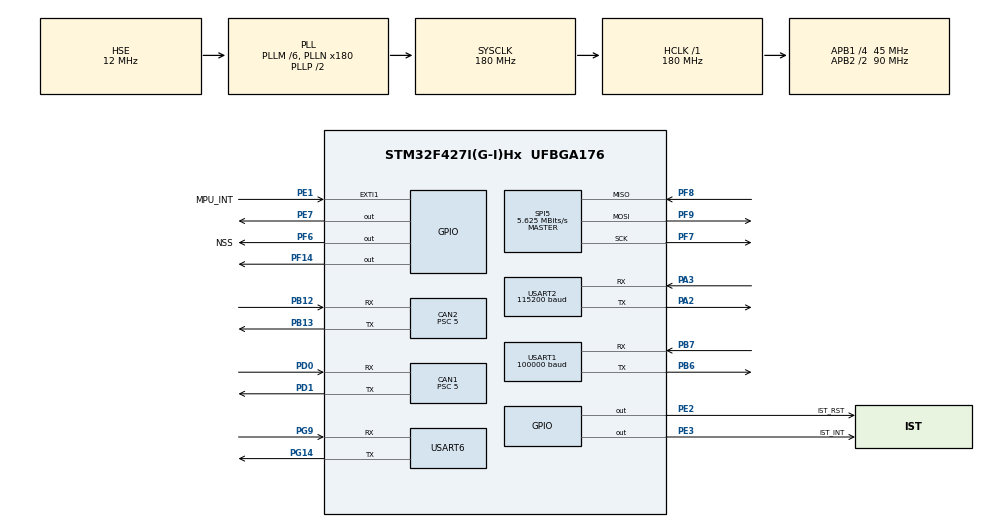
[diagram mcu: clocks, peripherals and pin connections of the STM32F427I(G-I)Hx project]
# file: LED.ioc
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CAN1.ABOM=ENABLE
CAN1.BS1=CAN_BS1_3TQ
CAN1.BS2=CAN_BS2_5TQ
CAN1.CalculateTimeBit=1000
CAN1.CalculateTimeQuantum=111.11111111111111
CAN1.Prescaler=5
CAN2.ABOM=ENABLE
CAN2.BS1=CAN_BS1_3TQ
CAN2.BS2=CAN_BS2_5TQ
CAN2.CalculateTimeBit=1000
CAN2.CalculateTimeQuantum=111.11111111111111
CAN2.Prescaler=5
CAN2.SJW=CAN_SJW_4TQ
Dma.Request0=USART1_RX
Dma.Request1=USART6_RX
Dma.Request2=USART6_TX
Dma.Request3=USART2_RX
Dma.Request4=USART2_TX
Dma.USART1_RX.0.Direction=DMA_PERIPH_TO_MEMORY
Dma.USART1_RX.0.FIFOMode=DMA_FIFOMODE_DISABLE
Dma.USART1_RX.0.Instance=DMA2_Stream2
Dma.USART1_RX.0.MemDataAlignment=DMA_MDATAALIGN_BYTE
Dma.USART1_RX.0.MemInc=DMA_MINC_ENABLE
Dma.USART1_RX.0.Mode=DMA_CIRCULAR
Dma.USART1_RX.0.PeriphDataAlignment=DMA_PDATAALIGN_BYTE
Dma.USART1_RX.0.PeriphInc=DMA_PINC_DISABLE
Dma.USART1_RX.0.Priority=DMA_PRIORITY_VERY_HIGH
Dma.USART2_RX.3.Direction=DMA_PERIPH_TO_MEMORY
Dma.USART2_RX.3.FIFOMode=DMA_FIFOMODE_DISABLE
Dma.USART2_RX.3.Instance=DMA1_Stream5
Dma.USART2_RX.3.MemDataAlignment=DMA_MDATAALIGN_BYTE
Dma.USART2_RX.3.MemInc=DMA_MINC_ENABLE
Dma.USART2_RX.3.Mode=DMA_NORMAL
Dma.USART2_RX.3.PeriphDataAlignment=DMA_PDATAALIGN_BYTE
Dma.USART2_RX.3.PeriphInc=DMA_PINC_DISABLE
Dma.USART2_RX.3.Priority=DMA_PRIORITY_LOW
Dma.USART2_TX.4.Direction=DMA_MEMORY_TO_PERIPH
Dma.USART2_TX.4.FIFOMode=DMA_FIFOMODE_DISABLE
Dma.USART2_TX.4.Instance=DMA1_Stream6
Dma.USART2_TX.4.MemDataAlignment=DMA_MDATAALIGN_BYTE
Dma.USART2_TX.4.MemInc=DMA_MINC_ENABLE
Dma.USART2_TX.4.Mode=DMA_NORMAL
Dma.USART2_TX.4.PeriphDataAlignment=DMA_PDATAALIGN_BYTE
Dma.USART2_TX.4.PeriphInc=DMA_PINC_DISABLE
Dma.USART2_TX.4.Priority=DMA_PRIORITY_LOW
Dma.USART6_RX.1.Direction=DMA_PERIPH_TO_MEMORY
Dma.USART6_RX.1.FIFOMode=DMA_FIFOMODE_DISABLE
Dma.USART6_RX.1.Instance=DMA2_Stream1
Dma.USART6_RX.1.MemDataAlignment=DMA_MDATAALIGN_BYTE
Dma.USART6_RX.1.MemInc=DMA_MINC_ENABLE
Dma.USART6_RX.1.Mode=DMA_NORMAL
Dma.USART6_RX.1.PeriphDataAlignment=DMA_PDATAALIGN_BYTE
Dma.USART6_RX.1.PeriphInc=DMA_PINC_DISABLE
Dma.USART6_RX.1.Priority=DMA_PRIORITY_LOW
Dma.USART6_TX.2.Direction=DMA_MEMORY_TO_PERIPH
Dma.USART6_TX.2.FIFOMode=DMA_FIFOMODE_DISABLE
Dma.USART6_TX.2.Instance=DMA2_Stream6
Dma.USART6_TX.2.MemDataAlignment=DMA_MDATAALIGN_BYTE
Dma.USART6_TX.2.MemInc=DMA_MINC_ENABLE
Dma.USART6_TX.2.Mode=DMA_NORMAL
Dma.USART6_TX.2.PeriphDataAlignment=DMA_PDATAALIGN_BYTE
Dma.USART6_TX.2.PeriphInc=DMA_PINC_DISABLE
Dma.USART6_TX.2.Priority=DMA_PRIORITY_LOW
FREERTOS.Tasks01=LED0,0,128,Func_LED0,Default,NULL,Dynamic,NULL,NULL;LED1,0,128,Func_LED1,Default,NULL,Dynamic,NULL,NULL;myTask03,2,128,StartDefaultTask,Default,NULL,Dynamic,NULL,NULL;PrintName,0,128,PrintFunc,Default,NULL,Dynamic,NULL,NULL;update,2,128,updatefun,Default,NULL,Dynamic,NULL,NULL;WG,3,128,WGfun,Default,NULL,Dynamic,NULL,NULL;IMU,1,128,IMUfun,Default,NULL,Dynamic,NULL,NULL
FREERTOS.configUSE_STATS_FORMATTING_FUNCTIONS=1
FREERTOS.configUSE_TRACE_FACILITY=1
Mcu.Family=STM32F4
Mcu.Name=STM32F427I(G-I)Hx
Mcu.Package=UFBGA176
NVIC.CAN1_RX0_IRQn=true\:5\:0\:false\:false\:true\:true\:true
NVIC.CAN1_TX_IRQn=true\:5\:0\:false\:false\:true\:true\:true
NVIC.CAN2_RX0_IRQn=true\:5\:0\:false\:false\:true\:true\:true
NVIC.CAN2_TX_IRQn=true\:5\:0\:false\:false\:true\:true\:true
NVIC.DMA1_Stream5_IRQn=true\:5\:0\:false\:false\:true\:true\:false
NVIC.DMA1_Stream6_IRQn=true\:5\:0\:false\:false\:true\:true\:false
NVIC.DMA2_Stream1_IRQn=true\:5\:0\:false\:false\:true\:true\:false
NVIC.DMA2_Stream2_IRQn=true\:5\:0\:false\:false\:true\:true\:false
NVIC.DMA2_Stream6_IRQn=true\:5\:0\:false\:false\:true\:true\:false
NVIC.PVD_IRQn=true\:5\:0\:false\:false\:true\:true\:true
NVIC.PriorityGroup=NVIC_PRIORITYGROUP_4
NVIC.TIM3_IRQn=true\:5\:0\:false\:false\:true\:true\:true
NVIC.TIM4_IRQn=true\:0\:0\:false\:false\:true\:false\:false
NVIC.TimeBase=TIM4_IRQn
NVIC.TimeBaseIP=TIM4
PA2.Mode=Asynchronous
PA2.Signal=USART2_TX
PA3.Mode=Asynchronous
PA3.Signal=USART2_RX
PB12.Mode=Slave
PB12.Signal=CAN2_RX
PB13.Mode=Slave
PB13.Signal=CAN2_TX
PB6.Mode=Asynchronous
PB6.Signal=USART1_TX
PB7.Mode=Asynchronous
PB7.Signal=USART1_RX
PD0.Mode=Master
PD0.Signal=CAN1_RX
PD1.Mode=Master
PD1.Signal=CAN1_TX
PE1.GPIO_Label=MPU_INT
PE1.Signal=GPXTI1
PE2.GPIO_Label=IST_RST
PE2.Signal=GPIO_Output
PE3.GPIO_Label=IST_INT
PE3.Signal=GPIO_Output
PE7.Signal=GPIO_Output
PF14.Signal=GPIO_Output
PF6.GPIO_Label=NSS
PF6.Signal=GPIO_Output
PF7.Mode=Full_Duplex_Master
PF7.Signal=SPI5_SCK
PF8.Mode=Full_Duplex_Master
PF8.Signal=SPI5_MISO
PF9.Mode=Full_Duplex_Master
PF9.Signal=SPI5_MOSI
PG14.Mode=Asynchronous
PG14.Signal=USART6_TX
PG9.Mode=Asynchronous
PG9.Signal=USART6_RX
PH0/OSC_IN.Mode=HSE-External-Oscillator
PH0/OSC_IN.Signal=RCC_OSC_IN
PH1/OSC_OUT.Mode=HSE-External-Oscillator
PH1/OSC_OUT.Signal=RCC_OSC_OUT
ProjectManager.HeapSize=0x200
ProjectManager.StackSize=0x400
ProjectManager.TargetToolchain=MDK-ARM V5
RCC.48MHZClocksFreq_Value=51428571.428571425
RCC.AHBFreq_Value=180000000
RCC.APB1CLKDivider=RCC_HCLK_DIV4
RCC.APB1Freq_Value=45000000
RCC.APB1TimFreq_Value=90000000
RCC.APB2CLKDivider=RCC_HCLK_DIV2
RCC.APB2Freq_Value=90000000
RCC.APB2TimFreq_Value=180000000
RCC.CortexFreq_Value=180000000
RCC.HCLKFreq_Value=180000000
RCC.HSE_VALUE=12000000
RCC.HSI_VALUE=16000000
RCC.LSE_VALUE=32768
RCC.PLLM=6
RCC.PLLN=180
RCC.PLLQ=7
RCC.PLLSourceVirtual=RCC_PLLSOURCE_HSE
RCC.SYSCLKFreq_VALUE=180000000
RCC.SYSCLKSource=RCC_SYSCLKSOURCE_PLLCLK
RCC.VCOOutputFreq_Value=360000000
SPI5.BaudRatePrescaler=SPI_BAUDRATEPRESCALER_16
SPI5.CalculateBaudRate=5.625 MBits/s
SPI5.Direction=SPI_DIRECTION_2LINES
SPI5.Mode=SPI_MODE_MASTER
SPI5.VirtualType=VM_MASTER
TIM3.Period=44999
USART1.BaudRate=100000
USART1.Mode=MODE_RX
USART1.Parity=PARITY_EVEN
USART1.VirtualMode=VM_ASYNC
USART2.BaudRate=115200
USART2.Parity=PARITY_NONE
USART2.VirtualMode=VM_ASYNC
USART6.VirtualMode=VM_ASYNC
VP_CRC_VS_CRC.Mode=CRC_Activate
VP_FREERTOS_VS_ENABLE.Mode=Enabled
VP_IWDG_VS_IWDG.Mode=IWDG_Activate
VP_SYS_VS_tim4.Mode=TIM4
VP_TIM3_VS_ClockSourceINT.Mode=Internal
board=LED

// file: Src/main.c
/**
  ******************************************************************************
  * File Name          : main.c
  * Description        : Main program body
  ******************************************************************************
  * This notice applies to any and all portions of this file
  * that are not between comment pairs USER CODE BEGIN and
  * USER CODE END. Other portions of this file, whether
  * inserted by the user or by software development tools
  * are owned by their respective copyright owners.
  *
  * Copyright (c) 2018 STMicroelectronics International N.V.
  * All rights reserved.
  *
  * Redistribution and use in source and binary forms, with or without
  * modification, are permitted, provided that the following conditions are met:
  *
  * 1. Redistribution of source code must retain the above copyright notice,
  *    this list of conditions and the following disclaimer.
  * 2. Redistributions in binary form must reproduce the above copyright notice,
  *    this list of conditions and the following disclaimer in the documentation
  *    and/or other materials provided with the distribution.
  * 3. Neither the name of STMicroelectronics nor the names of other
  *    contributors to this software may be used to endorse or promote products
  *    derived from this software without specific written permission.
  * 4. This software, including modifications and/or derivative works of this
  *    software, must execute solely and exclusively on microcontroller or
  *    microprocessor devices manufactured by or for STMicroelectronics.
  * 5. Redistribution and use of this software other than as permitted under
  *    this license is void and will automatically terminate your rights under
  *    this license.
  *
  * THIS SOFTWARE IS PROVIDED BY STMICROELECTRONICS AND CONTRIBUTORS "AS IS"
  * AND ANY EXPRESS, IMPLIED OR STATUTORY WARRANTIES, INCLUDING, BUT NOT
  * LIMITED TO, THE IMPLIED WARRANTIES OF MERCHANTABILITY, FITNESS FOR A
  * PARTICULAR PURPOSE AND NON-INFRINGEMENT OF THIRD PARTY INTELLECTUAL PROPERTY
  * RIGHTS ARE DISCLAIMED TO THE FULLEST EXTENT PERMITTED BY LAW. IN NO EVENT
  * SHALL STMICROELECTRONICS OR CONTRIBUTORS BE LIABLE FOR ANY DIRECT, INDIRECT,
  * INCIDENTAL, SPECIAL, EXEMPLARY, OR CONSEQUENTIAL DAMAGES (INCLUDING, BUT NOT
  * LIMITED TO, PROCUREMENT OF SUBSTITUTE GOODS OR SERVICES; LOSS OF USE, DATA,
  * OR PROFITS; OR BUSINESS INTERRUPTION) HOWEVER CAUSED AND ON ANY THEORY OF
  * LIABILITY, WHETHER IN CONTRACT, STRICT LIABILITY, OR TORT (INCLUDING
  * NEGLIGENCE OR OTHERWISE) ARISING IN ANY WAY OUT OF THE USE OF THIS SOFTWARE,
  * EVEN IF ADVISED OF THE POSSIBILITY OF SUCH DAMAGE.
  *
  ******************************************************************************
  */

#include "main.h"
#include "stm32f4xx_hal.h"
#include "cmsis_os.h"

/* USER CODE BEGIN Includes */
#include "bsp_can.h"
#include "pid.h"
#include "usart.h"
#include "RC.h"
#include "test_imu.h"
#include "mpu6500_reg.h"
/* USER CODE END Includes */

CAN_HandleTypeDef hcan1;
CAN_HandleTypeDef hcan2;

CRC_HandleTypeDef hcrc;

IWDG_HandleTypeDef hiwdg;

SPI_HandleTypeDef hspi5;

TIM_HandleTypeDef htim3;

UART_HandleTypeDef huart1;
UART_HandleTypeDef huart2;
UART_HandleTypeDef huart6;
DMA_HandleTypeDef hdma_usart1_rx;
DMA_HandleTypeDef hdma_usart2_rx;
DMA_HandleTypeDef hdma_usart2_tx;
DMA_HandleTypeDef hdma_usart6_rx;
DMA_HandleTypeDef hdma_usart6_tx;

osThreadId LED0Handle;
osThreadId LED1Handle;
osThreadId myTask03Handle;
osThreadId PrintNameHandle;
osThreadId updateHandle;
osThreadId WGHandle;
osThreadId IMUHandle;

/* USER CODE BEGIN PV */
/* Private variables ---------------------------------------------------------*/
int set_v, set_spd[4];
uint8_t aTxStartMessage[] = "\r\n****UART-Hyperterminal communication based on IT ****\r\nEnter 10 characters using keyboard :\r\n";
uint8_t aRxBuffer[18]={0x00, 0x04 ,0x20 ,0x00 ,0x01, 0xf8, 0x00 ,0x00, 0x00, 0x00, 0x00, 0x00, 0x00, 0x00 ,0x00 ,0x00 ,0x00 ,0x00 };

int CH1 = 3;
int CH2 = 1;
int CH3 = 0;
int CH4 = 2;

int	L_X = 1024;
int	L_Y = 1024;
int	R_X = 1024;
int	R_Y = 1024;

int max_rpm = 2000;
/* USER CODE END PV */

void SystemClock_Config(void);
static void MX_GPIO_Init(void);
static void MX_DMA_Init(void);
static void MX_CAN1_Init(void);
static void MX_CAN2_Init(void);
static void MX_USART2_UART_Init(void);
static void MX_USART1_UART_Init(void);
static void MX_USART6_UART_Init(void);
static void MX_IWDG_Init(void);
static void MX_CRC_Init(void);
static void MX_TIM3_Init(void);
static void MX_SPI5_Init(void);
void Func_LED0(void const * argument);
void Func_LED1(void const * argument);
void ChassisMotorTask(void const * argument);
void PrintFunc(void const * argument);
void uartTask(void const * argument);
void WGfun(void const * argument);
void IMUfun(void const * argument);

/* USER CODE BEGIN PFP */
/* Private function prototypes -----------------------------------------------*/

/* USER CODE END PFP */

int main(void)
{

  /* MCU Configuration----------------------------------------------------------*/

  /* Reset of all peripherals, Initializes the Flash interface and the Systick. */
  HAL_Init();

  /* Configure the system clock */
  SystemClock_Config();

  /* Initialize all configured peripherals */
  MX_GPIO_Init();
  MX_DMA_Init();
  MX_CAN1_Init();
  MX_CAN2_Init();
  MX_USART2_UART_Init();
  MX_USART1_UART_Init();
  MX_USART6_UART_Init();
 // MX_IWDG_Init();
  MX_CRC_Init();
  MX_TIM3_Init();
  MX_SPI5_Init();

  /* USER CODE BEGIN 2 */
	IMU_init();
	HAL_GPIO_WritePin(GPIOE, IST_RST_Pin, GPIO_PIN_SET);
	MPU6500_Init();
	IST8310_Init();
	Init_Quaternion();
	HAL_TIM_Base_Start_IT(&htim3);
	HAL_UART_Receive_DMA(&huart1,aRxBuffer,18);
//	HAL_UART_Receive_DMA(&huart1,aRxBuffer,18);// ??DMA??
//	HAL_UART_Transmit_DMA(&huart1,aTxStartMessage,sizeof(aTxStartMessage));// DMA????
  /* USER CODE END 2 */

  /* Create the thread(s) */
  /* definition and creation of LED0 */
  osThreadDef(LED0, Func_LED0, osPriorityNormal, 0, 128);
  LED0Handle = osThreadCreate(osThread(LED0), NULL);

  /* definition and creation of LED1 */
  osThreadDef(LED1, Func_LED1, osPriorityNormal, 0, 128);
  LED1Handle = osThreadCreate(osThread(LED1), NULL);

  /* definition and creation of myTask03 */
  osThreadDef(myTask03, ChassisMotorTask, osPriorityHigh, 0, 128);
  myTask03Handle = osThreadCreate(osThread(myTask03), NULL);

  /* definition and creation of PrintName */
  osThreadDef(PrintName, PrintFunc, osPriorityNormal, 0, 128);
  PrintNameHandle = osThreadCreate(osThread(PrintName), NULL);

  /* definition and creation of update */
  osThreadDef(update, uartTask, osPriorityHigh, 0, 128);
  updateHandle = osThreadCreate(osThread(update), NULL);

  /* definition and creation of WG */
  osThreadDef(WG, WGfun, osPriorityRealtime, 0, 128);
  WGHandle = osThreadCreate(osThread(WG), NULL);

  /* definition and creation of IMU */
  osThreadDef(IMU, IMUfun, osPriorityAboveNormal, 0, 128);
  IMUHandle = osThreadCreate(osThread(IMU), NULL);

  /* Start scheduler */
  osKernelStart();

  /* We should never get here as control is now taken by the scheduler */

  /* Infinite loop */
  while (1)
  {

  }

}

/** System Clock Configuration
*/
void SystemClock_Config(void)
{

  RCC_OscInitTypeDef RCC_OscInitStruct;
  RCC_ClkInitTypeDef RCC_ClkInitStruct;

    /**Configure the main internal regulator output voltage
    */
  __HAL_RCC_PWR_CLK_ENABLE();

  __HAL_PWR_VOLTAGESCALING_CONFIG(PWR_REGULATOR_VOLTAGE_SCALE1);

    /**Initializes the CPU, AHB and APB busses clocks
    */
  RCC_OscInitStruct.OscillatorType = RCC_OSCILLATORTYPE_LSI|RCC_OSCILLATORTYPE_HSE;
  RCC_OscInitStruct.HSEState = RCC_HSE_ON;
  RCC_OscInitStruct.LSIState = RCC_LSI_ON;
  RCC_OscInitStruct.PLL.PLLState = RCC_PLL_ON;
  RCC_OscInitStruct.PLL.PLLSource = RCC_PLLSOURCE_HSE;
  RCC_OscInitStruct.PLL.PLLM = 6;
  RCC_OscInitStruct.PLL.PLLN = 180;
  RCC_OscInitStruct.PLL.PLLP = RCC_PLLP_DIV2;
  RCC_OscInitStruct.PLL.PLLQ = 7;
  if (HAL_RCC_OscConfig(&RCC_OscInitStruct) != HAL_OK)
  {
    _Error_Handler(__FILE__, __LINE__);
  }

    /**Activate the Over-Drive mode
    */
  if (HAL_PWREx_EnableOverDrive() != HAL_OK)
  {
    _Error_Handler(__FILE__, __LINE__);
  }

    /**Initializes the CPU, AHB and APB busses clocks
    */
  RCC_ClkInitStruct.ClockType = RCC_CLOCKTYPE_HCLK|RCC_CLOCKTYPE_SYSCLK
                              |RCC_CLOCKTYPE_PCLK1|RCC_CLOCKTYPE_PCLK2;
  RCC_ClkInitStruct.SYSCLKSource = RCC_SYSCLKSOURCE_PLLCLK;
  RCC_ClkInitStruct.AHBCLKDivider = RCC_SYSCLK_DIV1;
  RCC_ClkInitStruct.APB1CLKDivider = RCC_HCLK_DIV4;
  RCC_ClkInitStruct.APB2CLKDivider = RCC_HCLK_DIV2;

  if (HAL_RCC_ClockConfig(&RCC_ClkInitStruct, FLASH_LATENCY_5) != HAL_OK)
  {
    _Error_Handler(__FILE__, __LINE__);
  }

    /**Configure the Systick interrupt time
    */
  HAL_SYSTICK_Config(HAL_RCC_GetHCLKFreq()/1000);

    /**Configure the Systick
    */
  HAL_SYSTICK_CLKSourceConfig(SYSTICK_CLKSOURCE_HCLK);

  /* SysTick_IRQn interrupt configuration */
  HAL_NVIC_SetPriority(SysTick_IRQn, 15, 0);
}

/* CAN1 init function */
static void MX_CAN1_Init(void)
{

  hcan1.Instance = CAN1;
  hcan1.Init.Prescaler = 5;
  hcan1.Init.Mode = CAN_MODE_NORMAL;
  hcan1.Init.SJW = CAN_SJW_1TQ;
  hcan1.Init.BS1 = CAN_BS1_3TQ;
  hcan1.Init.BS2 = CAN_BS2_5TQ;
  hcan1.Init.TTCM = DISABLE;
  hcan1.Init.ABOM = ENABLE;
  hcan1.Init.AWUM = DISABLE;
  hcan1.Init.NART = DISABLE;
  hcan1.Init.RFLM = DISABLE;
  hcan1.Init.TXFP = DISABLE;
  if (HAL_CAN_Init(&hcan1) != HAL_OK)
  {
    _Error_Handler(__FILE__, __LINE__);
  }

}

/* CAN2 init function */
static void MX_CAN2_Init(void)
{

  hcan2.Instance = CAN2;
  hcan2.Init.Prescaler = 5;
  hcan2.Init.Mode = CAN_MODE_NORMAL;
  hcan2.Init.SJW = CAN_SJW_4TQ;
  hcan2.Init.BS1 = CAN_BS1_3TQ;
  hcan2.Init.BS2 = CAN_BS2_5TQ;
  hcan2.Init.TTCM = DISABLE;
  hcan2.Init.ABOM = ENABLE;
  hcan2.Init.AWUM = DISABLE;
  hcan2.Init.NART = DISABLE;
  hcan2.Init.RFLM = DISABLE;
  hcan2.Init.TXFP = DISABLE;
  if (HAL_CAN_Init(&hcan2) != HAL_OK)
  {
    _Error_Handler(__FILE__, __LINE__);
  }

}

/* CRC init function */
static void MX_CRC_Init(void)
{

  hcrc.Instance = CRC;
  if (HAL_CRC_Init(&hcrc) != HAL_OK)
  {
    _Error_Handler(__FILE__, __LINE__);
  }

}

/* IWDG init function */
static void MX_IWDG_Init(void)
{

  hiwdg.Instance = IWDG;
  hiwdg.Init.Prescaler = IWDG_PRESCALER_4;
  hiwdg.Init.Reload = 4095;
  if (HAL_IWDG_Init(&hiwdg) != HAL_OK)
  {
    _Error_Handler(__FILE__, __LINE__);
  }

}

/* SPI5 init function */
static void MX_SPI5_Init(void)
{

  /* SPI5 parameter configuration*/
  hspi5.Instance = SPI5;
  hspi5.Init.Mode = SPI_MODE_MASTER;
  hspi5.Init.Direction = SPI_DIRECTION_2LINES;
  hspi5.Init.DataSize = SPI_DATASIZE_8BIT;
  hspi5.Init.CLKPolarity = SPI_POLARITY_LOW;
  hspi5.Init.CLKPhase = SPI_PHASE_1EDGE;
  hspi5.Init.NSS = SPI_NSS_SOFT;
  hspi5.Init.BaudRatePrescaler = SPI_BAUDRATEPRESCALER_16;
  hspi5.Init.FirstBit = SPI_FIRSTBIT_MSB;
  hspi5.Init.TIMode = SPI_TIMODE_DISABLE;
  hspi5.Init.CRCCalculation = SPI_CRCCALCULATION_DISABLE;
  hspi5.Init.CRCPolynomial = 10;
  if (HAL_SPI_Init(&hspi5) != HAL_OK)
  {
    _Error_Handler(__FILE__, __LINE__);
  }

}

/* TIM3 init function */
static void MX_TIM3_Init(void)
{

  TIM_ClockConfigTypeDef sClockSourceConfig;
  TIM_MasterConfigTypeDef sMasterConfig;

  htim3.Instance = TIM3;
  htim3.Init.Prescaler = 0;
  htim3.Init.CounterMode = TIM_COUNTERMODE_UP;
  htim3.Init.Period = 44999;
  htim3.Init.ClockDivision = TIM_CLOCKDIVISION_DIV1;
  if (HAL_TIM_Base_Init(&htim3) != HAL_OK)
  {
    _Error_Handler(__FILE__, __LINE__);
  }

  sClockSourceConfig.ClockSource = TIM_CLOCKSOURCE_INTERNAL;
  if (HAL_TIM_ConfigClockSource(&htim3, &sClockSourceConfig) != HAL_OK)
  {
    _Error_Handler(__FILE__, __LINE__);
  }

  sMasterConfig.MasterOutputTrigger = TIM_TRGO_RESET;
  sMasterConfig.MasterSlaveMode = TIM_MASTERSLAVEMODE_DISABLE;
  if (HAL_TIMEx_MasterConfigSynchronization(&htim3, &sMasterConfig) != HAL_OK)
  {
    _Error_Handler(__FILE__, __LINE__);
  }

}

/* USART1 init function */
static void MX_USART1_UART_Init(void)
{

  huart1.Instance = USART1;
  huart1.Init.BaudRate = 100000;
  huart1.Init.WordLength = UART_WORDLENGTH_8B;
  huart1.Init.StopBits = UART_STOPBITS_1;
  huart1.Init.Parity = UART_PARITY_EVEN;
  huart1.Init.Mode = UART_MODE_RX;
  huart1.Init.HwFlowCtl = UART_HWCONTROL_NONE;
  huart1.Init.OverSampling = UART_OVERSAMPLING_16;
  if (HAL_UART_Init(&huart1) != HAL_OK)
  {
    _Error_Handler(__FILE__, __LINE__);
  }

}

/* USART2 init function */
static void MX_USART2_UART_Init(void)
{

  huart2.Instance = USART2;
  huart2.Init.BaudRate = 115200;
  huart2.Init.WordLength = UART_WORDLENGTH_8B;
  huart2.Init.StopBits = UART_STOPBITS_1;
  huart2.Init.Parity = UART_PARITY_NONE;
  huart2.Init.Mode = UART_MODE_TX_RX;
  huart2.Init.HwFlowCtl = UART_HWCONTROL_NONE;
  huart2.Init.OverSampling = UART_OVERSAMPLING_16;
  if (HAL_UART_Init(&huart2) != HAL_OK)
  {
    _Error_Handler(__FILE__, __LINE__);
  }

}

/* USART6 init function */
static void MX_USART6_UART_Init(void)
{

  huart6.Instance = USART6;
  huart6.Init.BaudRate = 115200;
  huart6.Init.WordLength = UART_WORDLENGTH_8B;
  huart6.Init.StopBits = UART_STOPBITS_1;
  huart6.Init.Parity = UART_PARITY_NONE;
  huart6.Init.Mode = UART_MODE_TX_RX;
  huart6.Init.HwFlowCtl = UART_HWCONTROL_NONE;
  huart6.Init.OverSampling = UART_OVERSAMPLING_16;
  if (HAL_UART_Init(&huart6) != HAL_OK)
  {
    _Error_Handler(__FILE__, __LINE__);
  }

}

static void MX_DMA_Init(void)
{
  /* DMA controller clock enable */
  __HAL_RCC_DMA2_CLK_ENABLE();
  __HAL_RCC_DMA1_CLK_ENABLE();

  /* DMA interrupt init */
  /* DMA1_Stream5_IRQn interrupt configuration */
  HAL_NVIC_SetPriority(DMA1_Stream5_IRQn, 5, 0);
  HAL_NVIC_EnableIRQ(DMA1_Stream5_IRQn);
  /* DMA1_Stream6_IRQn interrupt configuration */
  HAL_NVIC_SetPriority(DMA1_Stream6_IRQn, 5, 0);
  HAL_NVIC_EnableIRQ(DMA1_Stream6_IRQn);
  /* DMA2_Stream1_IRQn interrupt configuration */
  HAL_NVIC_SetPriority(DMA2_Stream1_IRQn, 5, 0);
  HAL_NVIC_EnableIRQ(DMA2_Stream1_IRQn);
  /* DMA2_Stream2_IRQn interrupt configuration */
  HAL_NVIC_SetPriority(DMA2_Stream2_IRQn, 5, 0);
  HAL_NVIC_EnableIRQ(DMA2_Stream2_IRQn);
  /* DMA2_Stream6_IRQn interrupt configuration */
  HAL_NVIC_SetPriority(DMA2_Stream6_IRQn, 5, 0);
  HAL_NVIC_EnableIRQ(DMA2_Stream6_IRQn);

}

/** Configure pins as
        * Analog
        * Input
        * Output
        * EVENT_OUT
        * EXTI
*/
static void MX_GPIO_Init(void)
{

  GPIO_InitTypeDef GPIO_InitStruct;

  /* GPIO Ports Clock Enable */
  __HAL_RCC_GPIOE_CLK_ENABLE();
  __HAL_RCC_GPIOG_CLK_ENABLE();
  __HAL_RCC_GPIOB_CLK_ENABLE();
  __HAL_RCC_GPIOD_CLK_ENABLE();
  __HAL_RCC_GPIOH_CLK_ENABLE();
  __HAL_RCC_GPIOF_CLK_ENABLE();
  __HAL_RCC_GPIOA_CLK_ENABLE();

  /*Configure GPIO pin Output Level */
  HAL_GPIO_WritePin(GPIOE, IST_INT_Pin|IST_RST_Pin|GPIO_PIN_7, GPIO_PIN_RESET);

  /*Configure GPIO pin Output Level */
  HAL_GPIO_WritePin(GPIOF, NSS_Pin|GPIO_PIN_14, GPIO_PIN_RESET);

  /*Configure GPIO pins : IST_INT_Pin IST_RST_Pin PE7 */
  GPIO_InitStruct.Pin = IST_INT_Pin|IST_RST_Pin|GPIO_PIN_7;
  GPIO_InitStruct.Mode = GPIO_MODE_OUTPUT_PP;
  GPIO_InitStruct.Pull = GPIO_NOPULL;
  GPIO_InitStruct.Speed = GPIO_SPEED_FREQ_LOW;
  HAL_GPIO_Init(GPIOE, &GPIO_InitStruct);

  /*Configure GPIO pin : MPU_INT_Pin */
  GPIO_InitStruct.Pin = MPU_INT_Pin;
  GPIO_InitStruct.Mode = GPIO_MODE_IT_RISING;
  GPIO_InitStruct.Pull = GPIO_NOPULL;
  HAL_GPIO_Init(MPU_INT_GPIO_Port, &GPIO_InitStruct);

  /*Configure GPIO pins : NSS_Pin PF14 */
  GPIO_InitStruct.Pin = NSS_Pin|GPIO_PIN_14;
  GPIO_InitStruct.Mode = GPIO_MODE_OUTPUT_PP;
  GPIO_InitStruct.Pull = GPIO_NOPULL;
  GPIO_InitStruct.Speed = GPIO_SPEED_FREQ_LOW;
  HAL_GPIO_Init(GPIOF, &GPIO_InitStruct);

}

/* Func_LED0 function */
void Func_LED0(void const * argument)
{

  /* USER CODE BEGIN 5 */
  /* Infinite loop */
  for(;;)
  {
    HAL_GPIO_TogglePin(GPIOF, GPIO_PIN_14);
		osDelay(500);
  }
  /* USER CODE END 5 */
}

/* Func_LED1 function */
void Func_LED1(void const * argument)
{
  /* USER CODE BEGIN Func_LED1 */
  /* Infinite loop */
  for(;;)
  {
    HAL_GPIO_TogglePin(GPIOE, GPIO_PIN_7);
		osDelay(1000);
  }
  /* USER CODE END Func_LED1 */
}

/* ChassisMotorTask function */
void ChassisMotorTask(void const * argument)
{
  /* USER CODE BEGIN ChassisMotorTask */
  /* Infinite loop */

	my_can_filter_init_recv_all(&hcan1);
	HAL_CAN_Receive_IT(&hcan1, CAN_FIFO0);
	HAL_CAN_Receive_IT(&hcan2, CAN_FIFO0);
//	PID_struct_init(&pid_omg, POSITION_PID, 20000, 20000,
//									1.5f,	0.1f,	0.0f	);  //angular rate closeloop.
	HAL_Delay(1000);
	for(int i=0; i<4; i++)
	{
		PID_struct_init(&pid_spd[i], POSITION_PID, 20000, 20000,
									1.5f,	0.1f,	0.0f	);  //4 motos angular rate closeloop.
	}
	HAL_Delay(1000);

  /* Infinite loop */
  for(;;)
  {

			for(int i=0; i<4; i++)
			{
				pid_calc(&pid_spd[i], moto_chassis[i].speed_rpm, set_spd[i]);
			}
			set_moto_current(&hcan1, 	pid_spd[0].pos_out,
																pid_spd[1].pos_out,
																pid_spd[2].pos_out,
																pid_spd[3].pos_out);

			/************************
			更新摇杆数据(转换成+-3000rpm)
			*************************/
			//L_X = (RC_CtrlData.rc.lx - 1024)*max_rpm/660; //左摇杆横轴
			//L_Y = (RC_CtrlData.rc.ly - 1024)*max_rpm/660;	//左摇杆纵轴
			L_X = 0;
			L_Y = 0;
			R_X = (RC_CtrlData.rc.rx - 1024)*max_rpm/660;	//右摇杆横轴
			R_Y = (RC_CtrlData.rc.ry - 1024)*max_rpm/660;	//右摇杆纵轴

			if(rx_buffer1[1] == 0x01)
			{
				L_X = (RC_CtrlData.rc.lx - 1024)*max_rpm/660; //左摇杆横轴
			}
			else
			{
				L_X = 0;
			}

			if((L_X<500)&&(L_X>-500)) L_X = 0;
			if((L_Y<500)&&(L_Y>-500)) L_Y = 0;
			if((R_X<500)&&(R_X>-500)) R_X = 0;
			if((R_Y<500)&&(R_Y>-500)) R_Y = 0;

			/***********
			更新电机数据
			************/
			set_spd[CH1] = R_Y + L_X + (0-R_X);	  				// CH1 = Thr + Rud - Ail
			set_spd[CH2] = (0-R_Y) + L_X + (0-R_X);				// CH2 = -Thr + Rud - Ail
			set_spd[CH3] = R_Y + L_X + R_X;				// CH3 = Thr + Rud + Ail
			set_spd[CH4] = (0-R_Y) + L_X + R_X;		// CH4 = -Thr + Rud + Ail

			osDelay(10);
  }
  /* USER CODE END ChassisMotorTask */
}

/* PrintFunc function */
void PrintFunc(void const * argument)
{
  /* USER CODE BEGIN PrintFunc */
  /* Infinite loop */
  for(;;)
  {
    osDelay(100);
  }
  /* USER CODE END PrintFunc */
}

/* uartTask function */
void uartTask(void const * argument)
{
  /* USER CODE BEGIN uartTask */
	static int stop=0;//用于判断是否遥控器断开连接
	/******************DMA方式传数据**************************/
  //HAL_UART_Receive_DMA(&huart1,aRxBuffer,18);
	/* Infinite loop */
  for(;;)
  {
		// ??DMA??
		//printf("%x",HAL_UART_Receive_DMA(&huart1,aRxBuffer,18));
		HAL_UART_Receive_DMA(&huart1,aRxBuffer,18);
		RemoteDataProcess(aRxBuffer);
		//RemoteDataShow();
		//printf("data:%d  \n",RC_CtrlData.rc.ly);
		//printf("Yes: %x\r\n",hdma_usart1_rx.Instance->NDTR);

		/**** 判断是否遥控器断开连接*********/
		stop++;
		if( hdma_usart1_rx.Instance->NDTR <0x12)
		{
			stop=0;
		}
		if(stop>10)
		{
			RC_CtrlData.rc.lx=1024;
			RC_CtrlData.rc.ly=1024;
			RC_CtrlData.rc.rx=1024;
			RC_CtrlData.rc.ry=1024;
		}//{0x00, 0x04 ,0x20 ,0x00 ,0x01, 0xf8, 0x00 ,0x00, 0x00, 0x00, 0x00, 0x00, 0x00, 0x00 ,0x00 ,0x00 ,0x00 ,0x00 };

		tx_buffer1[0]=0x00;
		tx_buffer1[1]=RC_CtrlData.rc.s1;
		tx_buffer1[2]=0x01;
		tx_buffer1[3]=90;
		tx_buffer1[4]=RC_CtrlData.rc.s2;
		tx_buffer1[5]=(uint8_t)((uint32_t)(RC_CtrlData.rc.ly-364)*255/1320);//-364*255/(1684-364); //L_Y;
		tx_buffer1[6]=(uint8_t)((uint32_t)(RC_CtrlData.rc.lx-364)*255/1320);

		HAL_UART_Transmit_DMA(&huart2,tx_buffer1,sizeof(tx_buffer1));
		huart2.gState = HAL_UART_STATE_READY;

		HAL_UART_Receive_DMA(&huart2,rx_buffer1,RX_SIZE);

    osDelay(10);
  }
  /* USER CODE END uartTask */
}

/* WGfun function */
void WGfun(void const * argument)
{
  /* USER CODE BEGIN WGfun */
  /* Infinite loop */
  for(;;)
  {
		/************看门狗任务*************/
    osDelay(1);
  }
  /* USER CODE END WGfun */
}

/* IMUfun function */
void IMUfun(void const * argument)
{
  /* USER CODE BEGIN IMUfun */
  /* Infinite loop */
  for(;;)
  {
		/*******IMU 检测********/
		//IMU_getYawPitchRoll(angle);
    osDelay(10);
  }
  /* USER CODE END IMUfun */
}

void HAL_TIM_PeriodElapsedCallback(TIM_HandleTypeDef *htim)
{
  if (htim->Instance == TIM4) {
    HAL_IncTick();
  }
/* USER CODE BEGIN Callback 1 */
	if(htim->Instance == TIM3)
	{
		IMU_Get_Data();
	}
/* USER CODE END Callback 1 */
}

void _Error_Handler(char * file, int line)
{
  while(1)
  {
  }
}

/************************ (C) COPYRIGHT STMicroelectronics *****END OF FILE****/
